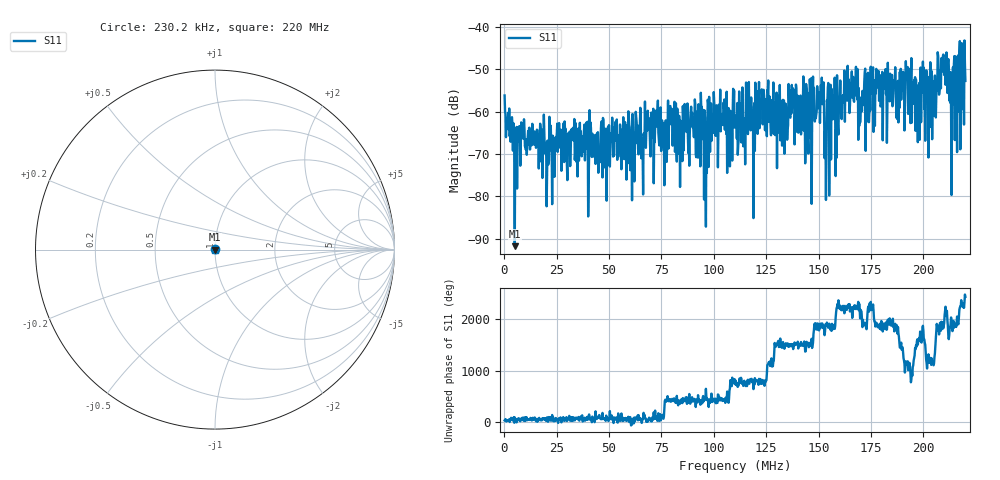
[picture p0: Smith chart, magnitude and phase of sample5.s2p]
!Output generated by mRS VNA Controller.
!Reflection Reading
# Hz S dB R 50
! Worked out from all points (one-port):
!   999 points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, 230.2 kHz to 220 MHz, reference 50 ohm
!   lowest |S11| = -91.7 dB at 5.075 MHz (marker M1), VSWR 1.00, Z = 50 + j0.00258 ohm
!   |S11| at or under -10 dB: start of sweep to end of sweep
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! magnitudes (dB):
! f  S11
! 230.2 kHz  -56.2
! 5.075 MHz  -91.7
! 27.76 MHz  -64.5
! 55.28 MHz  -63.0
! 72.9 MHz  -61.8
! 82.81 MHz  -66.3
! 93.6 MHz  -72.9
! 96.02 MHz  -73.0
! 99.55 MHz  -62.8
! 110.1 MHz  -63.3
! 118.7 MHz  -61.7
! 123.3 MHz  -63.0
! 134.6 MHz  -60.7
! 137.6 MHz  -54.5
! 144.2 MHz  -54.7
! 151.7 MHz  -58.3
! 153.1 MHz  -64.7
! 157 MHz  -56.2
! 158.8 MHz  -51.5
! 165.2 MHz  -54.8
! 169.8 MHz  -62.6
! 177.9 MHz  -53.8
! 187.6 MHz  -61.8
! 192.7 MHz  -60.6
! 205 MHz  -61.0
! 209.4 MHz  -46.6
! 213.2 MHz  -60.0
! 220 MHz  -52.8
